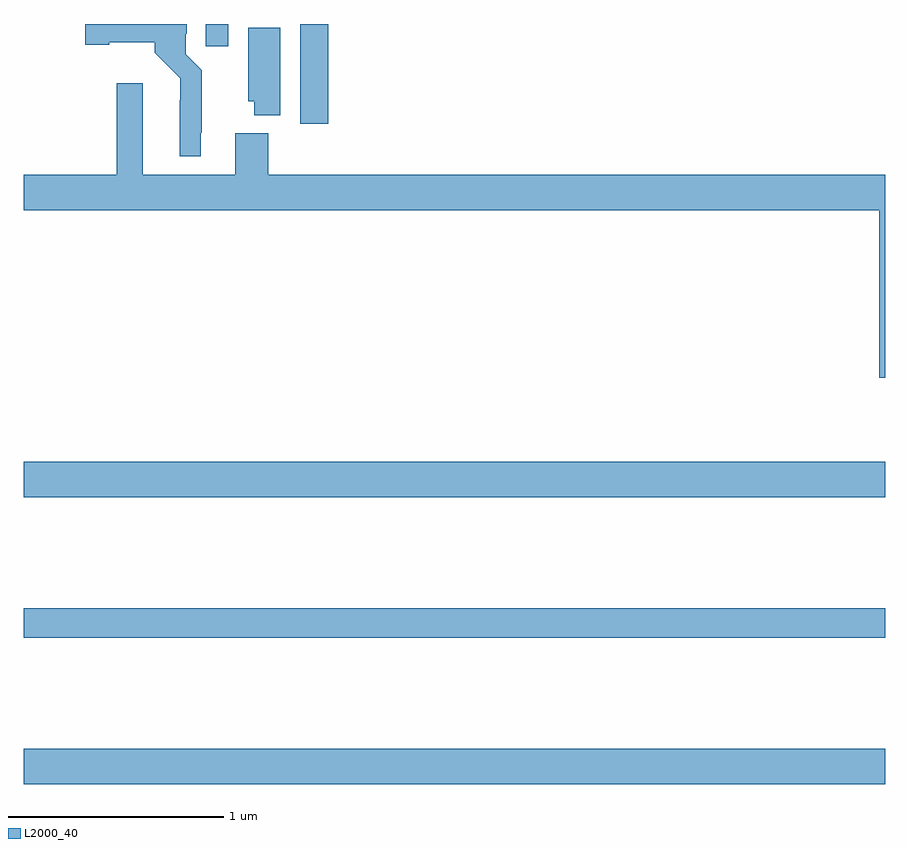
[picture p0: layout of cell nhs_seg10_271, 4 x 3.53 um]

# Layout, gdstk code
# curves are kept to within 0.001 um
import gdstk
lib = gdstk.Library(unit=1e-6, precision=1e-09)
def R(c, l, rs):  # rectangles x0, y0, x1, y1
    for r in rs: c.add(gdstk.rectangle(r[:2], r[2:], *l))
def P(c, l, *ps):  # polygons
    for p in ps: c.add(gdstk.Polygon(p, *l))
L2000_40 = (2000, 40)

nhs_seg10_271 = lib.new_cell('nhs_seg10_271')
R(nhs_seg10_271, L2000_40, [(123,1310.972,127,1311.136), (123,1311.652,127,1311.788), (123,1312.304,127,1312.468), (124.283,1314.036,124.415,1314.5), (123.845,1314.396,123.949,1314.5)])
P(nhs_seg10_271, L2000_40, [(123.823,1313.995),(123.827,1313.995),(123.827,1314.286),(123.753,1314.36),(123.753,1314.454),(123.757,1314.454),(123.757,1314.5),(123.285,1314.5),(123.285,1314.404),(123.397,1314.404),(123.397,1314.416),(123.608,1314.416),(123.608,1314.366),(123.726,1314.248),(123.725,1313.885),(123.823,1313.885)],
  [(124.192,1314.482),(124.043,1314.482),(124.043,1314.141),(124.07,1314.141),(124.07,1314.077),(124.192,1314.077)],
  [(127,1313.8),(124.136,1313.8),(124.136,1313.992),(123.983,1313.992),(123.983,1313.8),(123.553,1313.8),(123.553,1314.226),(123.431,1314.226),(123.431,1313.8),(123,1313.8),(123,1313.636),(126.971,1313.636),(126.971,1312.857),(127,1312.857)])

lib.write_gds('nhs_seg10_271.gds')
